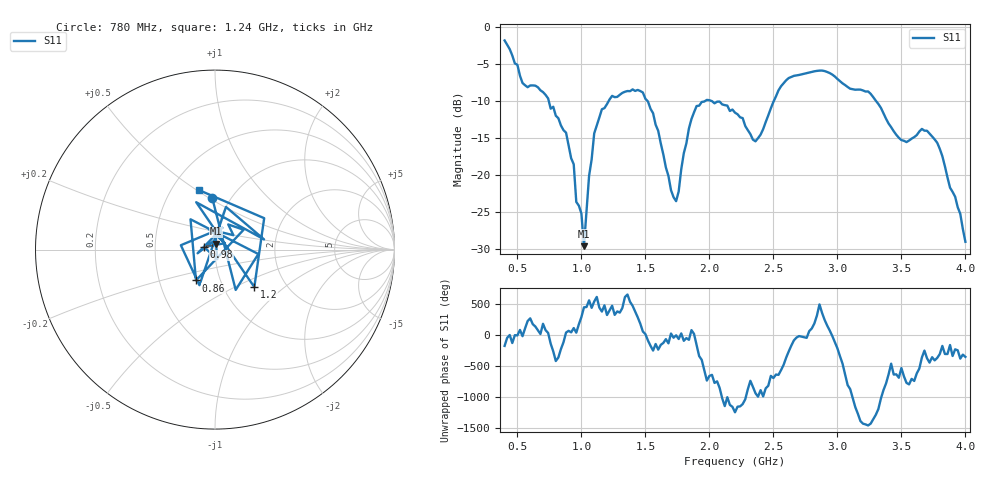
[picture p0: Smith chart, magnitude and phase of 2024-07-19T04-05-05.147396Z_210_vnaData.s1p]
!Created with skrf (http://scikit-rf.org).
# Hz S RI R 50.0
!freq ReS11 ImS11
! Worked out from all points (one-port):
!   181 points, 400 MHz to 4 GHz, reference 50 ohm
!   lowest |S11| = -29.6 dB at 1.02 GHz (marker M1), VSWR 1.07, Z = 50.5 + j3.3 ohm
!   |S11| at or under -10 dB: 745.5 MHz to 1.212 GHz (466.8 MHz wide, 47.7 % of centre); 2.021 GHz to 2.502 GHz (481.4 MHz wide, 21.3 % of centre); 3.303 GHz to end of sweep (the widest 3 of 4)
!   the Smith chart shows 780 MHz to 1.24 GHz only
!   S11 on the Smith chart (normalised r, x): 780 MHz: 0.82, +0.52; 860 MHz: 0.77, -0.27; 980 MHz: 0.89, +0.02; 1.2 GHz: 1.39, -0.64; 1.24 GHz: 0.68, +0.51
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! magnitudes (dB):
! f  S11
! 400 MHz  -1.8
! 540 MHz  -7.5
! 780 MHz  -10.7
! 860 MHz  -13.9
! 940 MHz  -18.5
! 960 MHz  -23.6
! 980 MHz  -24.1
! 1.02 GHz  -29.6
! 1.06 GHz  -20.1
! 1.1 GHz  -14.3
! 1.2 GHz  -10.4
! 1.24 GHz  -9.3
! 1.3 GHz  -9.1
! 1.48 GHz  -8.8
! 1.6 GHz  -14.0
! 1.7 GHz  -22.0
! 1.76 GHz  -22.2
! 1.84 GHz  -13.7
! 1.9 GHz  -10.6
! 2.2 GHz  -11.5
! 2.36 GHz  -15.4
! 2.66 GHz  -6.6
! 3.1 GHz  -8.3
! 3.24 GHz  -8.7
! 3.56 GHz  -15.3
! 3.66 GHz  -13.7
! 3.78 GHz  -15.6
! 4 GHz  -29.0
